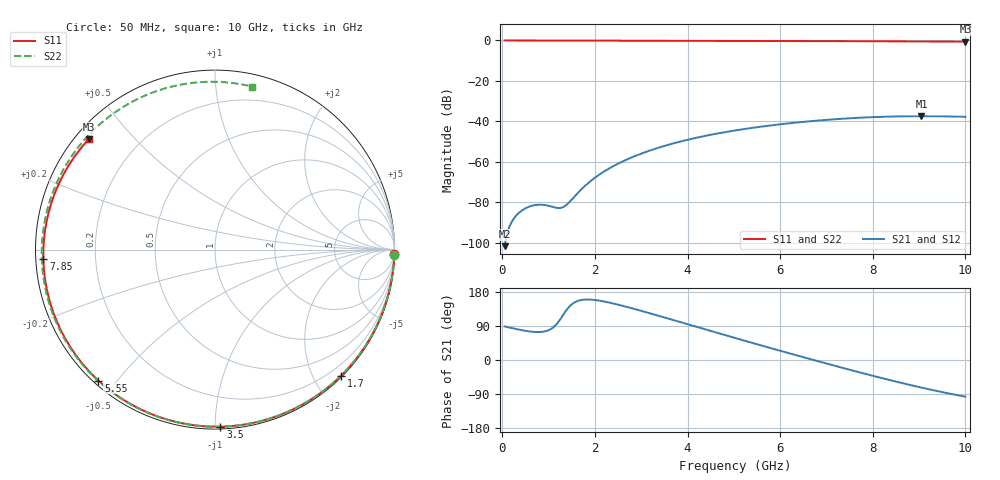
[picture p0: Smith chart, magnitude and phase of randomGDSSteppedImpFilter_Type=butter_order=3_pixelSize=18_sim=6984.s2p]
! freq	dB(S11)	phase(S11)	dB(S12)	phase(S12)
!  dB(S21)	phase(S21)	dB(S22)	phase(S22)
!S-par simulation data
#  GHz  S  DB  R 50
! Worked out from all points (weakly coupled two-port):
!   200 points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, 50 MHz to 10 GHz, reference 50 ohm
!   highest |S21| = -37.46 dB at 9.05 GHz (marker M1); lowest = -101.7 dB at 50 MHz (marker M2)
!   lowest |S11| = -0.6 dB at 10 GHz (marker M3), VSWR 29.51, Z = 1.93 + j18.8 ohm
!   |S11| at or under -10 dB: nowhere
!   |S22| runs from -0.6 to 0.0 dB; largest |S21 - S12| = 0
!   S11 on the Smith chart (normalised r, x): 50 MHz: 0, -84; 1.7 GHz: 0.02, -2.42; 3.5 GHz: 0.01, -1.03; 5.55 GHz: 0.01, -0.45; 7.85 GHz: 0.02, -0.03; 10 GHz: 0.04, +0.38
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0.05  -0.00 -1.4  -101.74 88.5  -101.74 88.5  -0.00 -1.6
0.7  -0.02 -18.8  -81.46 74.0  -81.46 74.0  -0.03 -22.0
1.05  -0.04 -28.1  -82.05 81.7  -82.05 81.7  -0.04 -32.8
1.45  -0.05 -38.6  -79.91 141.3  -79.91 141.3  -0.06 -45.0
1.7  -0.06 -45.0  -73.79 158.2  -73.79 158.2  -0.07 -52.4
1.75  -0.06 -46.2  -72.68 159.1  -72.68 159.1  -0.07 -53.9
2.05  -0.07 -53.8  -67.06 157.5  -67.06 157.5  -0.08 -62.7
2.45  -0.08 -63.7  -61.53 147.6  -61.53 147.6  -0.09 -74.1
2.9  -0.09 -74.4  -56.86 133.1  -56.86 133.1  -0.11 -86.6
3.4  -0.11 -86.0  -52.85 115.8  -52.85 115.8  -0.13 -100.1
3.5  -0.11 -88.3  -52.16 112.3  -52.16 112.3  -0.13 -102.7
4.25  -0.14 -104.8  -47.82 85.5  -47.82 85.5  -0.16 -122.1
5.05  -0.18 -121.5  -44.42 57.2  -44.42 57.2  -0.20 -142.1
5.55  -0.21 -131.7  -42.75 39.8  -42.75 39.8  -0.23 -154.5
6.15  -0.24 -143.6  -41.09 19.3  -41.09 19.3  -0.28 -169.5
6.7  -0.28 -154.4  -39.84 0.7  -39.84 0.7  -0.32 176.6
7.3  -0.33 -166.1  -38.77 -19.2  -38.77 -19.2  -0.37 160.8
7.85  -0.37 -176.9  -38.07 -37.0  -38.07 -37.0  -0.42 145.7
8.35  -0.42 173.2  -37.66 -52.5  -37.66 -52.5  -0.46 131.2
9.05  -0.49 159.0  -37.46 -72.8  -37.46 -72.8  -0.53 109.5
9.55  -0.54 148.5  -37.55 -86.0  -37.55 -86.0  -0.57 93.0
10  -0.59 138.7  -37.77 -96.8  -37.77 -96.8  -0.62 77.4
